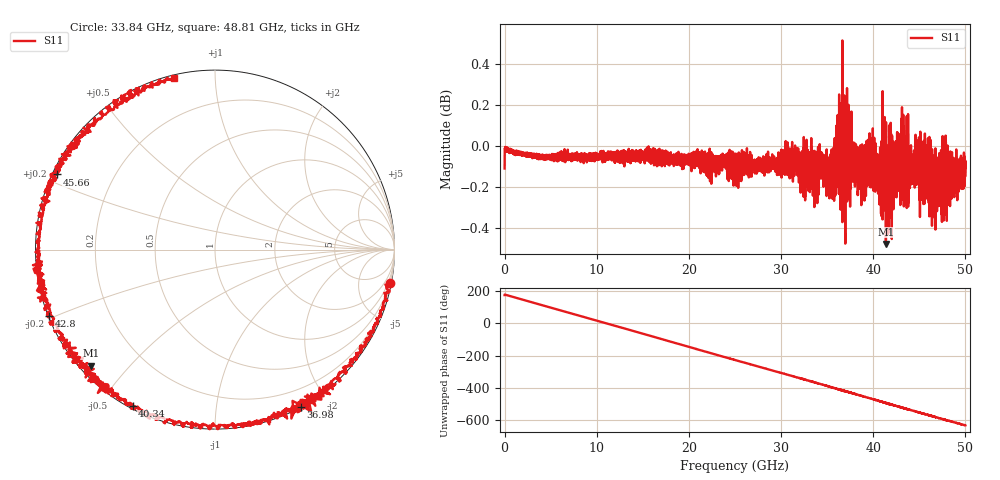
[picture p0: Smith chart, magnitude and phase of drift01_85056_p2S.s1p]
!Created with skrf (http://scikit-rf.org).
# Hz S RI R 50.0
!freq ReS11 ImS11
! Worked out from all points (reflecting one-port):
!   10001 points, 300 kHz to 50 GHz, reference 50 ohm
!   lowest |S11| = -0.5 dB at 41.37 GHz (marker M1), VSWR 36.61, Z = 1.58 - j19.7 ohm
!   phase of S11 starts at 176 deg and turns -811 deg over the sweep
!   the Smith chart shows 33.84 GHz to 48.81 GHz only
!   S11 on the Smith chart (normalised r, x): 33.84 GHz: 0, -11; 36.98 GHz: -0.00, -1.68; 40.34 GHz: 0.01, -0.60; 42.8 GHz: 0.00, -0.19; 45.66 GHz: 0.01, +0.23; 48.81 GHz: 0.01, +0.79
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300000  -0.9856 0.0629
1.66529e9  -0.8841 0.4566
3.555279e9  -0.5244 0.8444
6.250262e9  0.2063 0.9713
7.825253e9  0.6048 0.7882
9.625242e9  0.9121 0.3915
1.250022e10  0.9108 -0.3939
1.575521e10  0.2283 -0.9699
1.72452e10  -0.1918 -0.9729
1.875019e10  -0.5777 -0.8041
2.035018e10  -0.8774 -0.4707
2.183517e10  -0.9875 -0.0596
2.337516e10  -0.9213 0.3621
2.500015e10  -0.657 0.7325
2.661514e10  -0.2775 0.9521
2.807513e10  0.1294 0.982
3.125011e10  0.8347 0.5227
3.38351e10  0.9768 -0.1834
3.698008e10  0.4781 -0.8787
3.750008e10  0.3347 -0.9275
3.895007e10  -0.0802 -0.9966
4.033506e10  -0.459 -0.8719
4.137005e10  -0.6921 -0.6461
4.279504e10  -0.9239 -0.3719
4.375004e10  -0.9831 -0.089
4.566003e10  -0.8782 0.4186
4.880501e10  -0.2302 0.9562
5e10  0.0869 0.9842
